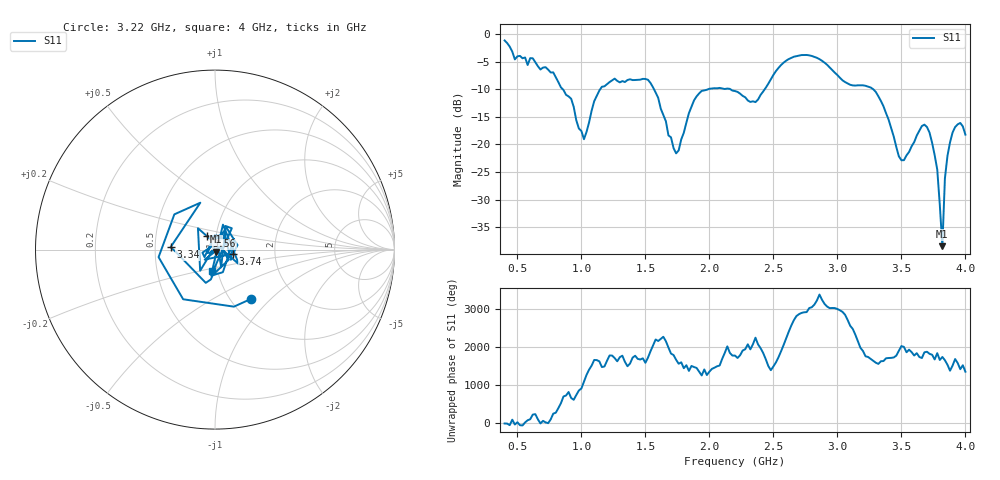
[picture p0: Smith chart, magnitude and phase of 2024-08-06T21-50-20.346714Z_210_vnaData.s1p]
!Created with skrf (http://scikit-rf.org).
# Hz S RI R 50.0
!freq ReS11 ImS11
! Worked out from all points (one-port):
!   181 points, 400 MHz to 4 GHz, reference 50 ohm
!   lowest |S11| = -38.4 dB at 3.82 GHz (marker M1), VSWR 1.02, Z = 50.4 - j1.14 ohm
!   |S11| at or under -10 dB: 855.3 MHz to 1.146 GHz (291.1 MHz wide, 29.1 % of centre); 1.568 GHz to 1.988 GHz (420.7 MHz wide, 23.7 % of centre); 3.281 GHz to end of sweep (the widest 3 of 4)
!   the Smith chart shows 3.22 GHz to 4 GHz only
!   S11 on the Smith chart (normalised r, x): 3.22 GHz: 1.24, -0.77; 3.34 GHz: 0.60, +0.02; 3.56 GHz: 0.91, +0.14; 3.74 GHz: 1.22, -0.06; 4 GHz: 0.94, -0.23
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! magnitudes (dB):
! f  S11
! 400 MHz  -1.1
! 480 MHz  -4.6
! 620 MHz  -4.4
! 860 MHz  -10.1
! 920 MHz  -11.7
! 1.02 GHz  -19.0
! 1.14 GHz  -10.2
! 1.3 GHz  -8.7
! 1.52 GHz  -8.3
! 1.76 GHz  -21.1
! 1.92 GHz  -10.7
! 2.2 GHz  -10.3
! 2.36 GHz  -12.3
! 2.66 GHz  -4.1
! 2.84 GHz  -4.3
! 3.1 GHz  -9.2
! 3.22 GHz  -9.4
! 3.34 GHz  -12.1
! 3.48 GHz  -22.1
! 3.56 GHz  -21.4
! 3.68 GHz  -16.4
! 3.74 GHz  -19.7
! 3.78 GHz  -24.5
! 3.82 GHz  -38.4
! 3.84 GHz  -26.1
! 3.88 GHz  -19.6
! 3.96 GHz  -16.1
! 4 GHz  -18.2
